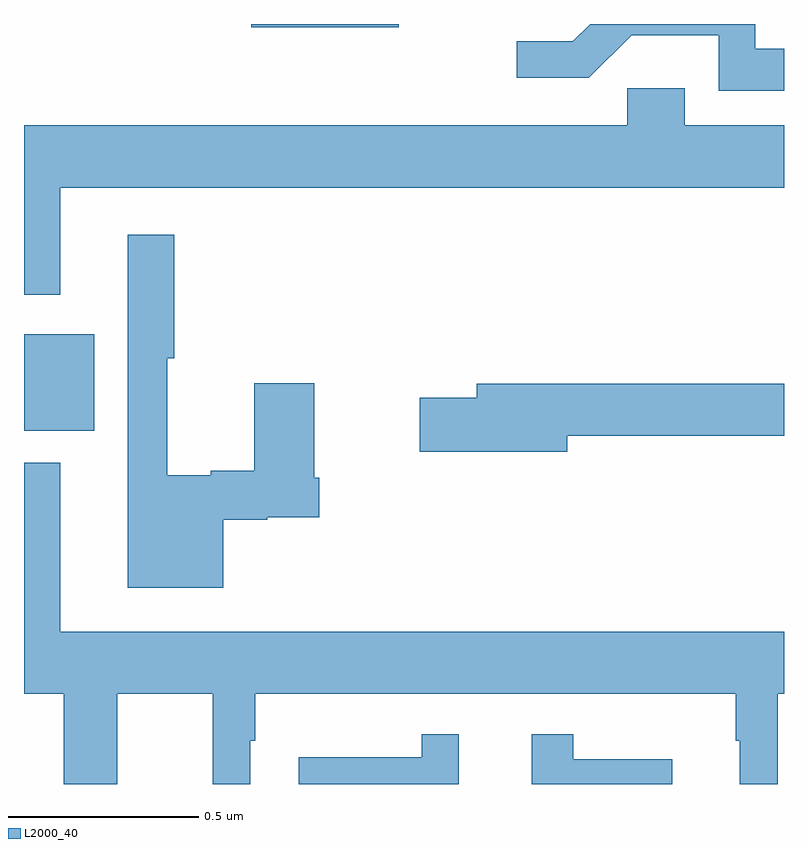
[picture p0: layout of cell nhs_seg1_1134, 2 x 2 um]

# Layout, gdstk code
import gdstk
lib = gdstk.Library(unit=1e-6, precision=1e-09)
def R(c, l, rs):  # rectangles x0, y0, x1, y1
    for r in rs: c.add(gdstk.rectangle(r[:2], r[2:], *l))
def P(c, l, *ps):  # polygons
    for p in ps: c.add(gdstk.Polygon(p, *l))
L2000_40 = (2000, 40)

nhs_seg1_1134 = lib.new_cell('nhs_seg1_1134')
R(nhs_seg1_1134, L2000_40, [(125,515.129,125.185,515.383), (125.598,516.191,125.986,516.199)])
P(nhs_seg1_1134, L2000_40, [(127,516.134),(126.924,516.134),(126.924,516.199),(126.49,516.199),(126.444,516.153),(126.297,516.153),(126.297,516.057),(126.486,516.057),(126.599,516.17),(126.828,516.17),(126.828,516.024),(127,516.024)],
  [(125.095,515.768),(127,515.768),(127,515.932),(126.739,515.932),(126.739,516.03),(126.588,516.03),(126.588,515.932),(125,515.932),(125,515.487),(125.095,515.487)],
  [(125.524,514.894),(125.64,514.894),(125.64,514.901),(125.777,514.901),(125.777,515.005),(125.764,515.005),(125.764,515.254),(125.606,515.254),(125.606,515.024),(125.492,515.024),(125.492,515.011),(125.377,515.011),(125.377,515.319),(125.395,515.319),(125.395,515.644),(125.273,515.644),(125.273,514.715),(125.524,514.715)],
  [(126.43,515.116),(127,515.116),(127,515.252),(126.191,515.252),(126.191,515.216),(126.042,515.216),(126.042,515.074),(126.43,515.074)],
  [(125.245,514.436),(125.497,514.436),(125.497,514.199),(125.595,514.199),(125.595,514.313),(125.608,514.313),(125.608,514.436),(126.873,514.436),(126.873,514.313),(126.884,514.313),(126.884,514.199),(126.983,514.199),(126.983,514.436),(127,514.436),(127,514.6),(125.095,514.6),(125.095,515.044),(125,515.044),(125,514.436),(125.105,514.436),(125.105,514.199),(125.245,514.199)],
  [(126.144,514.33),(126.047,514.33),(126.047,514.27),(125.723,514.27),(125.723,514.199),(126.144,514.199)],
  [(126.706,514.264),(126.445,514.264),(126.445,514.33),(126.336,514.33),(126.336,514.199),(126.706,514.199)])

lib.write_gds('nhs_seg1_1134.gds')
